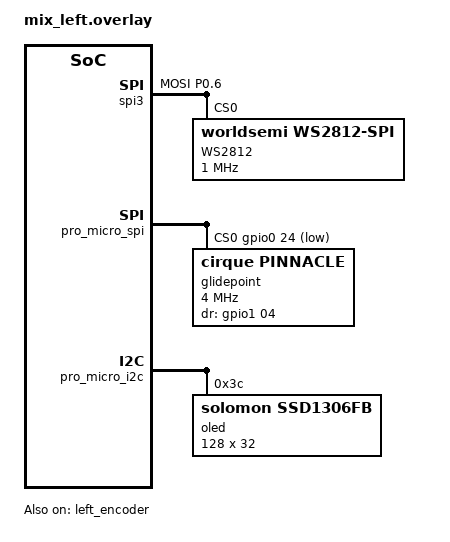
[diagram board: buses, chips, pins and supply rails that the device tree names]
/*
 * Copyright (c) 2020 Pete Johanson
 *
 * SPDX-License-Identifier: MIT
 */

#include "mix.dtsi"

#include <dt-bindings/led/led.h>
&pinctrl {
    spi3_default: spi3_default {
        group1 {
            psels = <NRF_PSEL(SPIM_MOSI, 0, 6)>;
        };
    };
    spi3_sleep: spi3_sleep {
        group1 {
            psels = <NRF_PSEL(SPIM_MOSI, 0, 6)>;
            low-power-enable;
        };
    };
};
&spi3 {
  compatible = "nordic,nrf-spim";
  status = "okay";
  pinctrl-0 = <&spi3_default>;
  pinctrl-1 = <&spi3_sleep>;
  pinctrl-names = "default", "sleep";
  led_strip: ws2812@0 {
    compatible = "worldsemi,ws2812-spi";
    label = "WS2812";
    /* SPI */
    reg = <0>; /* ignored, but necessary for SPI bindings */
    spi-max-frequency = <1000000>;
    /* WS2812 */
    chain-length = <21>; /* number of LEDs */
    spi-one-frame = <0x70>;
    spi-zero-frame = <0x40>;
    color-mapping = <LED_COLOR_ID_GREEN
                          LED_COLOR_ID_RED
                          LED_COLOR_ID_BLUE>;
  };
};

/ {
    chosen {
        zmk,underglow = &led_strip;
    };
};


&kscan0 {
    col-gpios
        = <&pro_micro 21 GPIO_ACTIVE_HIGH>
        , <&pro_micro 20 GPIO_ACTIVE_HIGH>
        , <&pro_micro 19 GPIO_ACTIVE_HIGH>
        , <&pro_micro 18 GPIO_ACTIVE_HIGH>
        , <&pro_micro 15 GPIO_ACTIVE_HIGH>
        , <&pro_micro 14 GPIO_ACTIVE_HIGH>
        ;
};

&pro_micro_spi {
    status = "okay";
    cs-gpios = <&gpio0 24 GPIO_ACTIVE_LOW>;

    glidepoint: glidepoint@0 {
        compatible = "cirque,pinnacle";
        reg = <0>;
        spi-max-frequency = <4000000>;
        status = "okay";
        dr-gpios = <&gpio1 04 (GPIO_ACTIVE_HIGH)>;

        sensitivity = "2x";
        //invert-x;
        sleep;
        // no-taps;
    };
};
/ {
    glidepoint_listener: glidepoint_listener {
        compatible = "zmk,input-listener";
        status = "disabled";
    };
};
&left_encoder {
    status = "okay";
};

&pro_micro_i2c {
    status = "okay";

    oled: ssd1306@3c {
        compatible = "solomon,ssd1306fb";
        reg = <0x3c>;
        width = <128>;
        height = <32>;
        segment-offset = <0>;
        page-offset = <0>;
        display-offset = <0>;
        multiplex-ratio = <31>;
        segment-remap;
        com-invdir;
        com-sequential;
        inversion-on;
        prechargep = <0x22>;
    };
};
